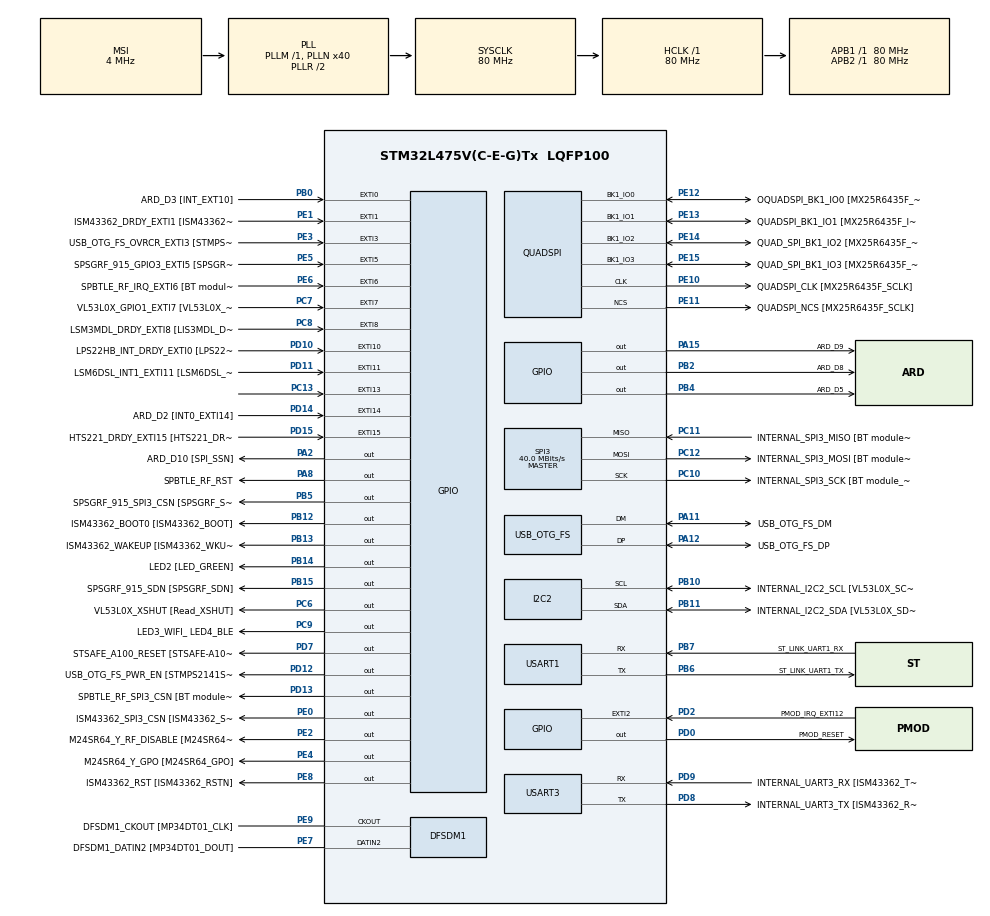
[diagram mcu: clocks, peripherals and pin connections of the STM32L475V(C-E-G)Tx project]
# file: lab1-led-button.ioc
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FREERTOS.BinarySemaphores01=timerSem,Dynamic,NULL,Available
FREERTOS.Mutexes01=ledMutex,Dynamic,NULL,Available
FREERTOS.Queues01=buttonQueue,4,uint8_t,0,Dynamic,NULL,NULL
FREERTOS.Tasks01=Task_1,24,128,StartTask1,Default,NULL,Dynamic,NULL,NULL;myTask02,24,128,StartTask2,Default,NULL,Dynamic,NULL,NULL
I2C2.Timing=0x10D19CE4
Mcu.Family=STM32L4
Mcu.Name=STM32L475V(C-E-G)Tx
Mcu.Package=LQFP100
NVIC.EXTI15_10_IRQn=true\:5\:0\:false\:false\:true\:true\:true\:true\:true
NVIC.EXTI9_5_IRQn=true\:5\:0\:false\:false\:true\:true\:true\:true\:true
NVIC.PriorityGroup=NVIC_PRIORITYGROUP_4
NVIC.TIM6_DAC_IRQn=true\:15\:0\:false\:false\:true\:false\:false\:true\:true
NVIC.TIM7_IRQn=true\:5\:0\:false\:false\:true\:true\:true\:true\:true
NVIC.TimeBase=TIM6_DAC_IRQn
NVIC.TimeBaseIP=TIM6
PA0.GPIO_Label=ARD_D1 [UART4_TX]
PA0.Signal=UART4_TX
PA1.GPIO_Label=ARD_D0 [UART4_RX]
PA1.Signal=UART4_RX
PA10.GPIO_Label=USB_OTG_FS_ID
PA10.Signal=USB_OTG_FS_ID
PA11.GPIO_Label=USB_OTG_FS_DM
PA11.Mode=Device_Only
PA11.Signal=USB_OTG_FS_DM
PA12.GPIO_Label=USB_OTG_FS_DP
PA12.Mode=Device_Only
PA12.Signal=USB_OTG_FS_DP
PA13\ (JTMS-SWDIO).GPIO_Label=SYS_JTMS_SWDIO
PA13\ (JTMS-SWDIO).Mode=Serial_Wire
PA13\ (JTMS-SWDIO).Signal=SYS_JTMS-SWDIO
PA14\ (JTCK-SWCLK).GPIO_Label=SYS_JTCK_SWCLK
PA14\ (JTCK-SWCLK).Mode=Serial_Wire
PA14\ (JTCK-SWCLK).Signal=SYS_JTCK-SWCLK
PA15\ (JTDI).GPIO_Label=ARD_D9
PA15\ (JTDI).Signal=GPIO_Output
PA2.GPIO_Label=ARD_D10 [SPI_SSN]
PA2.Signal=GPIO_Output
PA3.GPIO_Label=ARD_D4
PA3.Signal=S_TIM2_CH4
PA4.GPIO_Label=ARD_D7
PA4.Signal=ADCx_IN9
PA5.GPIO_Label=ARD_D13 [SPI1_SCK]
PA5.Signal=SPI1_SCK
PA6.GPIO_Label=ARD_D12 [SPI1_MISO]
PA6.Signal=SPI1_MISO
PA7.GPIO_Label=ARD_D11 [SPI1_MOSI]
PA7.Signal=SPI1_MOSI
PA8.GPIO_Label=SPBTLE_RF_RST
PA8.Signal=GPIO_Output
PA9.GPIO_Label=USB_OTG_FS_VBUS [STMPS2141STR_OUT]
PA9.Signal=USB_OTG_FS_VBUS
PB0.GPIO_Label=ARD_D3 [INT_EXT10]
PB0.Signal=GPXTI0
PB1.GPIO_Label=ARD_D6 [ADC1_IN6]
PB1.Signal=ADCx_IN16
PB10.GPIO_Label=INTERNAL_I2C2_SCL [VL53L0X_SCL]
PB10.GPIO_Pu=GPIO_PULLUP
PB10.Mode=I2C
PB10.Signal=I2C2_SCL
PB11.GPIO_Label=INTERNAL_I2C2_SDA [VL53L0X_SDA]
PB11.GPIO_Pu=GPIO_PULLUP
PB11.Mode=I2C
PB11.Signal=I2C2_SDA
PB12.GPIO_Label=ISM43362_BOOT0 [ISM43362_BOOT]
PB12.Signal=GPIO_Output
PB13.GPIO_Label=ISM43362_WAKEUP [ISM43362_WKUP]
PB13.Signal=GPIO_Output
PB14.GPIO_Label=LED2 [LED_GREEN]
PB14.Signal=GPIO_Output
PB15.GPIO_Label=SPSGRF_915_SDN [SPSGRF_SDN]
PB15.Signal=GPIO_Output
PB2.GPIO_Label=ARD_D8
PB2.Signal=GPIO_Output
PB3\ (JTDO-TRACESWO).GPIO_Label=SYS_JTD0_SWO
PB3\ (JTDO-TRACESWO).Signal=SYS_JTDO-SWO
PB4\ (NJTRST).GPIO_Label=ARD_D5
PB4\ (NJTRST).Signal=GPIO_Output
PB5.GPIO_Label=SPSGRF_915_SPI3_CSN [SPSGRF_SPI_CS]
PB5.PinState=GPIO_PIN_SET
PB5.Signal=GPIO_Output
PB6.GPIO_Label=ST_LINK_UART1_TX
PB6.Mode=Asynchronous
PB6.Signal=USART1_TX
PB7.GPIO_Label=ST_LINK_UART1_RX
PB7.Mode=Asynchronous
PB7.Signal=USART1_RX
PB8.GPIO_Label=ARD_D15 [I2C1_SCL]
PB8.Signal=I2C1_SCL
PB9.GPIO_Label=ARD_D14 [I2C1_SDA]
PB9.Signal=I2C1_SDA
PC0.GPIO_Label=ARD_A5 [ADC]
PC0.Signal=ADCx_IN1
PC1.GPIO_Label=ARD_A4 [ADC]
PC1.Signal=ADCx_IN2
PC10.GPIO_Label=INTERNAL_SPI3_SCK [BT module_SPI_SCLK] [ISM43362_SCK]
PC10.Mode=Full_Duplex_Master
PC10.Signal=SPI3_SCK
PC11.GPIO_Label=INTERNAL_SPI3_MISO [BT module_SPI_MISO] [ISM43362_MISO]
PC11.Mode=Full_Duplex_Master
PC11.Signal=SPI3_MISO
PC12.GPIO_Label=INTERNAL_SPI3_MOSI [BT module_SPI_MOSI] [ISM43362_MOSI]
PC12.Mode=Full_Duplex_Master
PC12.Signal=SPI3_MOSI
PC13.GPIO_ModeDefaultEXTI=GPIO_MODE_IT_RISING_FALLING
PC13.Signal=GPXTI13
PC14-OSC32_IN\ (PC14).Mode=LSE-External-Oscillator
PC14-OSC32_IN\ (PC14).Signal=RCC_OSC32_IN
PC15-OSC32_OUT\ (PC15).Mode=LSE-External-Oscillator
PC15-OSC32_OUT\ (PC15).Signal=RCC_OSC32_OUT
PC2.GPIO_Label=ARD_A3 [ADC]
PC2.Signal=ADCx_IN3
PC3.GPIO_Label=ARD_A2 [ADC]
PC3.Signal=ADCx_IN4
PC4.GPIO_Label=ARD_A1 [ADC]
PC4.Signal=ADCx_IN13
PC5.GPIO_Label=ARD_A0 [ADC]
PC5.Signal=ADCx_IN14
PC6.GPIO_Label=VL53L0X_XSHUT [Read_XSHUT]
PC6.Signal=GPIO_Output
PC7.GPIO_Label=VL53L0X_GPIO1_EXTI7 [VL53L0X_GPIO1]
PC7.Signal=GPXTI7
PC8.GPIO_Label=LSM3MDL_DRDY_EXTI8 [LIS3MDL_DRDY]
PC8.Signal=GPXTI8
PC9.GPIO_Label=LED3_WIFI_ LED4_BLE
PC9.Signal=GPIO_Output
PD0.GPIO_Label=PMOD_RESET
PD0.Signal=GPIO_Output
PD1.GPIO_Label=PMOD_SPI2_SCK
PD1.Signal=SPI2_SCK
PD10.GPIO_Label=LPS22HB_INT_DRDY_EXTI0 [LPS22HB_INT_DRDY] 
PD10.Signal=GPXTI10
PD11.GPIO_Label=LSM6DSL_INT1_EXTI11 [LSM6DSL_INT1]
PD11.Signal=GPXTI11
PD12.GPIO_Label=USB_OTG_FS_PWR_EN [STMPS2141STR_EN]
PD12.Signal=GPIO_Output
PD13.GPIO_Label=SPBTLE_RF_SPI3_CSN [BT module_SPI_CS]
PD13.PinState=GPIO_PIN_SET
PD13.Signal=GPIO_Output
PD14.GPIO_Label=ARD_D2 [INT0_EXTI14]
PD14.Signal=GPXTI14
PD15.GPIO_Label=HTS221_DRDY_EXTI15 [HTS221_DRDY]
PD15.Signal=GPXTI15
PD2.GPIO_Label=PMOD_IRQ_EXTI12
PD2.Signal=GPXTI2
PD3.GPIO_Label=PMOD_UART2_CTS
PD3.Signal=USART2_CTS
PD4.GPIO_Label=PMOD_UART2_RTS
PD4.Signal=USART2_RTS
PD5.GPIO_Label=PMOD_UART2_TX
PD5.Signal=USART2_TX
PD6.GPIO_Label=PMOD_UART2_RX
PD6.Signal=USART2_RX
PD7.GPIO_Label=STSAFE_A100_RESET [STSAFE-A100_RESET]
PD7.Signal=GPIO_Output
PD8.GPIO_Label=INTERNAL_UART3_TX [ISM43362_RX]
PD8.Mode=Asynchronous
PD8.Signal=USART3_TX
PD9.GPIO_Label=INTERNAL_UART3_RX [ISM43362_TX]
PD9.Mode=Asynchronous
PD9.Signal=USART3_RX
PE0.GPIO_Label=ISM43362_SPI3_CSN [ISM43362_SSN]
PE0.PinState=GPIO_PIN_SET
PE0.Signal=GPIO_Output
PE1.GPIO_Label=ISM43362_DRDY_EXTI1 [ISM43362_DATARDY]
PE1.Signal=GPXTI1
PE10.GPIO_Label=QUADSPI_CLK [MX25R6435F_SCLK]
PE10.Mode=Single Bank
PE10.Signal=QUADSPI_CLK
PE11.GPIO_Label=QUADSPI_NCS [MX25R6435F_SCLK]
PE11.Mode=Single Bank
PE11.Signal=QUADSPI_NCS
PE12.GPIO_Label=OQUADSPI_BK1_IO0 [MX25R6435F_IO0]
PE12.Mode=Single Bank
PE12.Signal=QUADSPI_BK1_IO0
PE13.GPIO_Label=QUADSPI_BK1_IO1 [MX25R6435F_IO1]
PE13.Mode=Single Bank
PE13.Signal=QUADSPI_BK1_IO1
PE14.GPIO_Label=QUAD_SPI_BK1_IO2 [MX25R6435F_IO2]
PE14.Mode=Single Bank
PE14.Signal=QUADSPI_BK1_IO2
PE15.GPIO_Label=QUAD_SPI_BK1_IO3 [MX25R6435F_IO3]
PE15.Mode=Single Bank
PE15.Signal=QUADSPI_BK1_IO3
PE2.GPIO_Label=M24SR64_Y_RF_DISABLE [M24SR64_RFDIS]
PE2.Signal=GPIO_Output
PE3.GPIO_Label=USB_OTG_FS_OVRCR_EXTI3 [STMPS2141STR_FAULT]
PE3.Signal=GPXTI3
PE4.GPIO_Label=M24SR64_Y_GPO [M24SR64_GPO]
PE4.Signal=GPIO_Output
PE5.GPIO_Label=SPSGRF_915_GPIO3_EXTI5 [SPSGRF_GPIO_3]
PE5.Signal=GPXTI5
PE6.GPIO_Label=SPBTLE_RF_IRQ_EXTI6 [BT module_SPI_IRQ]
PE6.Signal=GPXTI6
PE7.GPIO_Label=DFSDM1_DATIN2 [MP34DT01_DOUT]
PE7.Signal=S_DATAIN2DFSDM1
PE8.GPIO_Label=ISM43362_RST [ISM43362_RSTN]
PE8.Signal=GPIO_Output
PE9.GPIO_Label=DFSDM1_CKOUT [MP34DT01_CLK]
PE9.Signal=S_CKOUTDFSDM1
ProjectManager.HeapSize=0x200
ProjectManager.StackSize=0x400
ProjectManager.TargetToolchain=CMake
QUADSPI.ClockPrescaler=2
QUADSPI.FifoThreshold=4
QUADSPI.FlashSize=23
QUADSPI.SampleShifting=QSPI_SAMPLE_SHIFTING_HALFCYCLE
RCC.ADCFreq_Value=48000000
RCC.AHBFreq_Value=80000000
RCC.APB1Freq_Value=80000000
RCC.APB1TimFreq_Value=80000000
RCC.APB2Freq_Value=80000000
RCC.APB2TimFreq_Value=80000000
RCC.CortexFreq_Value=80000000
RCC.HCLKFreq_Value=80000000
RCC.HSE_VALUE=8000000
RCC.HSI_VALUE=16000000
RCC.MSI_VALUE=4000000
RCC.PLLN=40
RCC.PLLSAI1N=24
RCC.SYSCLKFreq_VALUE=80000000
RCC.SYSCLKSource=RCC_SYSCLKSOURCE_PLLCLK
RCC.USBFreq_Value=48000000
RCC.VCOOutputFreq_Value=160000000
SH.ADCx_IN1.0=ADC1_IN1
SH.ADCx_IN13.0=ADC1_IN13
SH.ADCx_IN14.0=ADC1_IN14
SH.ADCx_IN16.0=ADC1_IN16
SH.ADCx_IN2.0=ADC1_IN2
SH.ADCx_IN3.0=ADC1_IN3
SH.ADCx_IN4.0=ADC1_IN4
SH.ADCx_IN9.0=ADC1_IN9
SH.S_CKOUTDFSDM1.0=DFSDM1_CKOUT,CKOUT
SH.S_CKOUTDFSDM1.1=DFSDM1_CKOUT,PDM_SPI_Input_from_ch12_and_Internal_Clock
SH.S_DATAIN2DFSDM1.0=DFSDM1_DATIN2,PDM_SPI_Input_from_ch12_and_Internal_Clock
SH.S_TIM2_CH4.0=TIM2_CH4
SPI3.CalculateBaudRate=40.0 MBits/s
SPI3.Direction=SPI_DIRECTION_2LINES
SPI3.Mode=SPI_MODE_MASTER
SPI3.VirtualType=VM_MASTER
TIM7.Period=19999
TIM7.Prescaler=39999
USART1.VirtualMode-Asynchronous=VM_ASYNC
USART3.VirtualMode-Asynchronous=VM_ASYNC
USB_OTG_FS.VirtualMode=Device_Only
VP_FREERTOS_VS_CMSIS_V2.Mode=CMSIS_V2
VP_SYS_VS_tim6.Mode=TIM6
VP_TIM7_VS_ClockSourceINT.Mode=Enable_Timer
board=B-L475E-IOT01A1

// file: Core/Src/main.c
/* USER CODE BEGIN Header */
/**
  ******************************************************************************
  * @file           : main.c
  * @brief          : Main program body
  ******************************************************************************
  * @attention
  *
  * Copyright (c) 2026 STMicroelectronics.
  * All rights reserved.
  *
  * This software is licensed under terms that can be found in the LICENSE file
  * in the root directory of this software component.
  * If no LICENSE file comes with this software, it is provided AS-IS.
  *
  ******************************************************************************
  */
/* USER CODE END Header */
#include "main.h"
#include "cmsis_os.h"

/* USER CODE BEGIN PD */
#define MSG_SHORT 1
#define MSG_LONG  2
/* USER CODE END PD */

DFSDM_Channel_HandleTypeDef hdfsdm1_channel1;

I2C_HandleTypeDef hi2c2;

QSPI_HandleTypeDef hqspi;

SPI_HandleTypeDef hspi3;

TIM_HandleTypeDef htim7;

UART_HandleTypeDef huart1;
UART_HandleTypeDef huart3;

PCD_HandleTypeDef hpcd_USB_OTG_FS;

/* Definitions for Task_1 */
osThreadId_t Task_1Handle;
const osThreadAttr_t Task_1_attributes = {
  .name = "Task_1",
  .stack_size = 128 * 4,
  .priority = (osPriority_t) osPriorityNormal,
};
/* Definitions for myTask02 */
osThreadId_t myTask02Handle;
const osThreadAttr_t myTask02_attributes = {
  .name = "myTask02",
  .stack_size = 128 * 4,
  .priority = (osPriority_t) osPriorityNormal,
};
/* Definitions for buttonQueue */
osMessageQueueId_t buttonQueueHandle;
const osMessageQueueAttr_t buttonQueue_attributes = {
  .name = "buttonQueue"
};
/* Definitions for ledMutex */
osMutexId_t ledMutexHandle;
const osMutexAttr_t ledMutex_attributes = {
  .name = "ledMutex"
};
/* Definitions for timerSem */
osSemaphoreId_t timerSemHandle;
const osSemaphoreAttr_t timerSem_attributes = {
  .name = "timerSem"
};

void SystemClock_Config(void);
static void MX_GPIO_Init(void);
static void MX_DFSDM1_Init(void);
static void MX_I2C2_Init(void);
static void MX_QUADSPI_Init(void);
static void MX_SPI3_Init(void);
static void MX_USART1_UART_Init(void);
static void MX_USART3_UART_Init(void);
static void MX_USB_OTG_FS_PCD_Init(void);
static void MX_TIM7_Init(void);
void StartTask1(void *argument);
void StartTask2(void *argument);

int main(void)
{

  /* MCU Configuration--------------------------------------------------------*/

  /* Reset of all peripherals, Initializes the Flash interface and the Systick. */
  HAL_Init();

  /* Configure the system clock */
  SystemClock_Config();

  /* Initialize all configured peripherals */
  MX_GPIO_Init();
  MX_DFSDM1_Init();
  MX_I2C2_Init();
  MX_QUADSPI_Init();
  MX_SPI3_Init();
  MX_USART1_UART_Init();
  MX_USART3_UART_Init();
  MX_USB_OTG_FS_PCD_Init();
  MX_TIM7_Init();

  /* Init scheduler */
  osKernelInitialize();
  /* Create the mutex(es) */
  /* creation of ledMutex */
  ledMutexHandle = osMutexNew(&ledMutex_attributes);

  /* Create the semaphores(s) */
  /* creation of timerSem */
  timerSemHandle = osSemaphoreNew(1, 1, &timerSem_attributes);

  /* Create the queue(s) */
  /* creation of buttonQueue */
  buttonQueueHandle = osMessageQueueNew (4, sizeof(uint8_t), &buttonQueue_attributes);

  /* Create the thread(s) */
  /* creation of Task_1 */
  Task_1Handle = osThreadNew(StartTask1, NULL, &Task_1_attributes);

  /* creation of myTask02 */
  myTask02Handle = osThreadNew(StartTask2, NULL, &myTask02_attributes);

  /* Start scheduler */
  osKernelStart();

  /* We should never get here as control is now taken by the scheduler */

  /* Infinite loop */
  while (1)
  {

  }
}

void SystemClock_Config(void)
{
  RCC_OscInitTypeDef RCC_OscInitStruct = {0};
  RCC_ClkInitTypeDef RCC_ClkInitStruct = {0};

  /** Configure the main internal regulator output voltage
  */
  if (HAL_PWREx_ControlVoltageScaling(PWR_REGULATOR_VOLTAGE_SCALE1) != HAL_OK)
  {
    Error_Handler();
  }

  /** Configure LSE Drive Capability
  */
  HAL_PWR_EnableBkUpAccess();
  __HAL_RCC_LSEDRIVE_CONFIG(RCC_LSEDRIVE_LOW);

  /** Initializes the RCC Oscillators according to the specified parameters
  * in the RCC_OscInitTypeDef structure.
  */
  RCC_OscInitStruct.OscillatorType = RCC_OSCILLATORTYPE_LSE|RCC_OSCILLATORTYPE_MSI;
  RCC_OscInitStruct.LSEState = RCC_LSE_ON;
  RCC_OscInitStruct.MSIState = RCC_MSI_ON;
  RCC_OscInitStruct.MSICalibrationValue = 0;
  RCC_OscInitStruct.MSIClockRange = RCC_MSIRANGE_6;
  RCC_OscInitStruct.PLL.PLLState = RCC_PLL_ON;
  RCC_OscInitStruct.PLL.PLLSource = RCC_PLLSOURCE_MSI;
  RCC_OscInitStruct.PLL.PLLM = 1;
  RCC_OscInitStruct.PLL.PLLN = 40;
  RCC_OscInitStruct.PLL.PLLP = RCC_PLLP_DIV7;
  RCC_OscInitStruct.PLL.PLLQ = RCC_PLLQ_DIV2;
  RCC_OscInitStruct.PLL.PLLR = RCC_PLLR_DIV2;
  if (HAL_RCC_OscConfig(&RCC_OscInitStruct) != HAL_OK)
  {
    Error_Handler();
  }

  /** Initializes the CPU, AHB and APB buses clocks
  */
  RCC_ClkInitStruct.ClockType = RCC_CLOCKTYPE_HCLK|RCC_CLOCKTYPE_SYSCLK
                              |RCC_CLOCKTYPE_PCLK1|RCC_CLOCKTYPE_PCLK2;
  RCC_ClkInitStruct.SYSCLKSource = RCC_SYSCLKSOURCE_PLLCLK;
  RCC_ClkInitStruct.AHBCLKDivider = RCC_SYSCLK_DIV1;
  RCC_ClkInitStruct.APB1CLKDivider = RCC_HCLK_DIV1;
  RCC_ClkInitStruct.APB2CLKDivider = RCC_HCLK_DIV1;

  if (HAL_RCC_ClockConfig(&RCC_ClkInitStruct, FLASH_LATENCY_4) != HAL_OK)
  {
    Error_Handler();
  }

  /** Enable MSI Auto calibration
  */
  HAL_RCCEx_EnableMSIPLLMode();
}

static void MX_DFSDM1_Init(void)
{

  hdfsdm1_channel1.Instance = DFSDM1_Channel1;
  hdfsdm1_channel1.Init.OutputClock.Activation = ENABLE;
  hdfsdm1_channel1.Init.OutputClock.Selection = DFSDM_CHANNEL_OUTPUT_CLOCK_SYSTEM;
  hdfsdm1_channel1.Init.OutputClock.Divider = 2;
  hdfsdm1_channel1.Init.Input.Multiplexer = DFSDM_CHANNEL_EXTERNAL_INPUTS;
  hdfsdm1_channel1.Init.Input.DataPacking = DFSDM_CHANNEL_STANDARD_MODE;
  hdfsdm1_channel1.Init.Input.Pins = DFSDM_CHANNEL_FOLLOWING_CHANNEL_PINS;
  hdfsdm1_channel1.Init.SerialInterface.Type = DFSDM_CHANNEL_SPI_RISING;
  hdfsdm1_channel1.Init.SerialInterface.SpiClock = DFSDM_CHANNEL_SPI_CLOCK_INTERNAL;
  hdfsdm1_channel1.Init.Awd.FilterOrder = DFSDM_CHANNEL_FASTSINC_ORDER;
  hdfsdm1_channel1.Init.Awd.Oversampling = 1;
  hdfsdm1_channel1.Init.Offset = 0;
  hdfsdm1_channel1.Init.RightBitShift = 0x00;
  if (HAL_DFSDM_ChannelInit(&hdfsdm1_channel1) != HAL_OK)
  {
    Error_Handler();
  }

}

static void MX_I2C2_Init(void)
{

  hi2c2.Instance = I2C2;
  hi2c2.Init.Timing = 0x10D19CE4;
  hi2c2.Init.OwnAddress1 = 0;
  hi2c2.Init.AddressingMode = I2C_ADDRESSINGMODE_7BIT;
  hi2c2.Init.DualAddressMode = I2C_DUALADDRESS_DISABLE;
  hi2c2.Init.OwnAddress2 = 0;
  hi2c2.Init.OwnAddress2Masks = I2C_OA2_NOMASK;
  hi2c2.Init.GeneralCallMode = I2C_GENERALCALL_DISABLE;
  hi2c2.Init.NoStretchMode = I2C_NOSTRETCH_DISABLE;
  if (HAL_I2C_Init(&hi2c2) != HAL_OK)
  {
    Error_Handler();
  }

  /** Configure Analogue filter
  */
  if (HAL_I2CEx_ConfigAnalogFilter(&hi2c2, I2C_ANALOGFILTER_ENABLE) != HAL_OK)
  {
    Error_Handler();
  }

  /** Configure Digital filter
  */
  if (HAL_I2CEx_ConfigDigitalFilter(&hi2c2, 0) != HAL_OK)
  {
    Error_Handler();
  }

}

static void MX_QUADSPI_Init(void)
{

  /* QUADSPI parameter configuration*/
  hqspi.Instance = QUADSPI;
  hqspi.Init.ClockPrescaler = 2;
  hqspi.Init.FifoThreshold = 4;
  hqspi.Init.SampleShifting = QSPI_SAMPLE_SHIFTING_HALFCYCLE;
  hqspi.Init.FlashSize = 23;
  hqspi.Init.ChipSelectHighTime = QSPI_CS_HIGH_TIME_1_CYCLE;
  hqspi.Init.ClockMode = QSPI_CLOCK_MODE_0;
  if (HAL_QSPI_Init(&hqspi) != HAL_OK)
  {
    Error_Handler();
  }

}

static void MX_SPI3_Init(void)
{

  /* SPI3 parameter configuration*/
  hspi3.Instance = SPI3;
  hspi3.Init.Mode = SPI_MODE_MASTER;
  hspi3.Init.Direction = SPI_DIRECTION_2LINES;
  hspi3.Init.DataSize = SPI_DATASIZE_4BIT;
  hspi3.Init.CLKPolarity = SPI_POLARITY_LOW;
  hspi3.Init.CLKPhase = SPI_PHASE_1EDGE;
  hspi3.Init.NSS = SPI_NSS_SOFT;
  hspi3.Init.BaudRatePrescaler = SPI_BAUDRATEPRESCALER_2;
  hspi3.Init.FirstBit = SPI_FIRSTBIT_MSB;
  hspi3.Init.TIMode = SPI_TIMODE_DISABLE;
  hspi3.Init.CRCCalculation = SPI_CRCCALCULATION_DISABLE;
  hspi3.Init.CRCPolynomial = 7;
  hspi3.Init.CRCLength = SPI_CRC_LENGTH_DATASIZE;
  hspi3.Init.NSSPMode = SPI_NSS_PULSE_ENABLE;
  if (HAL_SPI_Init(&hspi3) != HAL_OK)
  {
    Error_Handler();
  }

}

static void MX_TIM7_Init(void)
{

  TIM_MasterConfigTypeDef sMasterConfig = {0};

  htim7.Instance = TIM7;
  htim7.Init.Prescaler = 39999;
  htim7.Init.CounterMode = TIM_COUNTERMODE_UP;
  htim7.Init.Period = 19999;
  htim7.Init.AutoReloadPreload = TIM_AUTORELOAD_PRELOAD_DISABLE;
  if (HAL_TIM_Base_Init(&htim7) != HAL_OK)
  {
    Error_Handler();
  }
  sMasterConfig.MasterOutputTrigger = TIM_TRGO_RESET;
  sMasterConfig.MasterSlaveMode = TIM_MASTERSLAVEMODE_DISABLE;
  if (HAL_TIMEx_MasterConfigSynchronization(&htim7, &sMasterConfig) != HAL_OK)
  {
    Error_Handler();
  }

}

static void MX_USART1_UART_Init(void)
{

  huart1.Instance = USART1;
  huart1.Init.BaudRate = 115200;
  huart1.Init.WordLength = UART_WORDLENGTH_8B;
  huart1.Init.StopBits = UART_STOPBITS_1;
  huart1.Init.Parity = UART_PARITY_NONE;
  huart1.Init.Mode = UART_MODE_TX_RX;
  huart1.Init.HwFlowCtl = UART_HWCONTROL_NONE;
  huart1.Init.OverSampling = UART_OVERSAMPLING_16;
  huart1.Init.OneBitSampling = UART_ONE_BIT_SAMPLE_DISABLE;
  huart1.AdvancedInit.AdvFeatureInit = UART_ADVFEATURE_NO_INIT;
  if (HAL_UART_Init(&huart1) != HAL_OK)
  {
    Error_Handler();
  }

}

static void MX_USART3_UART_Init(void)
{

  huart3.Instance = USART3;
  huart3.Init.BaudRate = 115200;
  huart3.Init.WordLength = UART_WORDLENGTH_8B;
  huart3.Init.StopBits = UART_STOPBITS_1;
  huart3.Init.Parity = UART_PARITY_NONE;
  huart3.Init.Mode = UART_MODE_TX_RX;
  huart3.Init.HwFlowCtl = UART_HWCONTROL_NONE;
  huart3.Init.OverSampling = UART_OVERSAMPLING_16;
  huart3.Init.OneBitSampling = UART_ONE_BIT_SAMPLE_DISABLE;
  huart3.AdvancedInit.AdvFeatureInit = UART_ADVFEATURE_NO_INIT;
  if (HAL_UART_Init(&huart3) != HAL_OK)
  {
    Error_Handler();
  }

}

static void MX_USB_OTG_FS_PCD_Init(void)
{

  hpcd_USB_OTG_FS.Instance = USB_OTG_FS;
  hpcd_USB_OTG_FS.Init.dev_endpoints = 6;
  hpcd_USB_OTG_FS.Init.speed = PCD_SPEED_FULL;
  hpcd_USB_OTG_FS.Init.phy_itface = PCD_PHY_EMBEDDED;
  hpcd_USB_OTG_FS.Init.Sof_enable = DISABLE;
  hpcd_USB_OTG_FS.Init.low_power_enable = DISABLE;
  hpcd_USB_OTG_FS.Init.lpm_enable = DISABLE;
  hpcd_USB_OTG_FS.Init.battery_charging_enable = DISABLE;
  hpcd_USB_OTG_FS.Init.use_dedicated_ep1 = DISABLE;
  hpcd_USB_OTG_FS.Init.vbus_sensing_enable = DISABLE;
  if (HAL_PCD_Init(&hpcd_USB_OTG_FS) != HAL_OK)
  {
    Error_Handler();
  }

}

static void MX_GPIO_Init(void)
{
  GPIO_InitTypeDef GPIO_InitStruct = {0};

  /* GPIO Ports Clock Enable */
  __HAL_RCC_GPIOE_CLK_ENABLE();
  __HAL_RCC_GPIOC_CLK_ENABLE();
  __HAL_RCC_GPIOA_CLK_ENABLE();
  __HAL_RCC_GPIOB_CLK_ENABLE();
  __HAL_RCC_GPIOD_CLK_ENABLE();

  /*Configure GPIO pin Output Level */
  HAL_GPIO_WritePin(GPIOE, M24SR64_Y_RF_DISABLE_Pin|M24SR64_Y_GPO_Pin|ISM43362_RST_Pin, GPIO_PIN_RESET);

  /*Configure GPIO pin Output Level */
  HAL_GPIO_WritePin(GPIOA, ARD_D10_Pin|SPBTLE_RF_RST_Pin|ARD_D9_Pin, GPIO_PIN_RESET);

  /*Configure GPIO pin Output Level */
  HAL_GPIO_WritePin(GPIOB, ARD_D8_Pin|ISM43362_BOOT0_Pin|ISM43362_WAKEUP_Pin|LED2_Pin
                          |SPSGRF_915_SDN_Pin|ARD_D5_Pin, GPIO_PIN_RESET);

  /*Configure GPIO pin Output Level */
  HAL_GPIO_WritePin(GPIOD, USB_OTG_FS_PWR_EN_Pin|PMOD_RESET_Pin|STSAFE_A100_RESET_Pin, GPIO_PIN_RESET);

  /*Configure GPIO pin Output Level */
  HAL_GPIO_WritePin(SPBTLE_RF_SPI3_CSN_GPIO_Port, SPBTLE_RF_SPI3_CSN_Pin, GPIO_PIN_SET);

  /*Configure GPIO pin Output Level */
  HAL_GPIO_WritePin(GPIOC, VL53L0X_XSHUT_Pin|LED3_WIFI__LED4_BLE_Pin, GPIO_PIN_RESET);

  /*Configure GPIO pin Output Level */
  HAL_GPIO_WritePin(SPSGRF_915_SPI3_CSN_GPIO_Port, SPSGRF_915_SPI3_CSN_Pin, GPIO_PIN_SET);

  /*Configure GPIO pin Output Level */
  HAL_GPIO_WritePin(ISM43362_SPI3_CSN_GPIO_Port, ISM43362_SPI3_CSN_Pin, GPIO_PIN_SET);

  /*Configure GPIO pins : M24SR64_Y_RF_DISABLE_Pin M24SR64_Y_GPO_Pin ISM43362_RST_Pin ISM43362_SPI3_CSN_Pin */
  GPIO_InitStruct.Pin = M24SR64_Y_RF_DISABLE_Pin|M24SR64_Y_GPO_Pin|ISM43362_RST_Pin|ISM43362_SPI3_CSN_Pin;
  GPIO_InitStruct.Mode = GPIO_MODE_OUTPUT_PP;
  GPIO_InitStruct.Pull = GPIO_NOPULL;
  GPIO_InitStruct.Speed = GPIO_SPEED_FREQ_LOW;
  HAL_GPIO_Init(GPIOE, &GPIO_InitStruct);

  /*Configure GPIO pins : USB_OTG_FS_OVRCR_EXTI3_Pin SPSGRF_915_GPIO3_EXTI5_Pin SPBTLE_RF_IRQ_EXTI6_Pin ISM43362_DRDY_EXTI1_Pin */
  GPIO_InitStruct.Pin = USB_OTG_FS_OVRCR_EXTI3_Pin|SPSGRF_915_GPIO3_EXTI5_Pin|SPBTLE_RF_IRQ_EXTI6_Pin|ISM43362_DRDY_EXTI1_Pin;
  GPIO_InitStruct.Mode = GPIO_MODE_IT_RISING;
  GPIO_InitStruct.Pull = GPIO_NOPULL;
  HAL_GPIO_Init(GPIOE, &GPIO_InitStruct);

  /*Configure GPIO pin : PC13 */
  GPIO_InitStruct.Pin = GPIO_PIN_13;
  GPIO_InitStruct.Mode = GPIO_MODE_IT_RISING_FALLING;
  GPIO_InitStruct.Pull = GPIO_NOPULL;
  HAL_GPIO_Init(GPIOC, &GPIO_InitStruct);

  /*Configure GPIO pins : ARD_A5_Pin ARD_A4_Pin ARD_A3_Pin ARD_A2_Pin
                           ARD_A1_Pin ARD_A0_Pin */
  GPIO_InitStruct.Pin = ARD_A5_Pin|ARD_A4_Pin|ARD_A3_Pin|ARD_A2_Pin
                          |ARD_A1_Pin|ARD_A0_Pin;
  GPIO_InitStruct.Mode = GPIO_MODE_ANALOG_ADC_CONTROL;
  GPIO_InitStruct.Pull = GPIO_NOPULL;
  HAL_GPIO_Init(GPIOC, &GPIO_InitStruct);

  /*Configure GPIO pins : ARD_D1_Pin ARD_D0_Pin */
  GPIO_InitStruct.Pin = ARD_D1_Pin|ARD_D0_Pin;
  GPIO_InitStruct.Mode = GPIO_MODE_AF_PP;
  GPIO_InitStruct.Pull = GPIO_NOPULL;
  GPIO_InitStruct.Speed = GPIO_SPEED_FREQ_VERY_HIGH;
  GPIO_InitStruct.Alternate = GPIO_AF8_UART4;
  HAL_GPIO_Init(GPIOA, &GPIO_InitStruct);

  /*Configure GPIO pins : ARD_D10_Pin SPBTLE_RF_RST_Pin ARD_D9_Pin */
  GPIO_InitStruct.Pin = ARD_D10_Pin|SPBTLE_RF_RST_Pin|ARD_D9_Pin;
  GPIO_InitStruct.Mode = GPIO_MODE_OUTPUT_PP;
  GPIO_InitStruct.Pull = GPIO_NOPULL;
  GPIO_InitStruct.Speed = GPIO_SPEED_FREQ_LOW;
  HAL_GPIO_Init(GPIOA, &GPIO_InitStruct);

  /*Configure GPIO pin : ARD_D4_Pin */
  GPIO_InitStruct.Pin = ARD_D4_Pin;
  GPIO_InitStruct.Mode = GPIO_MODE_AF_PP;
  GPIO_InitStruct.Pull = GPIO_NOPULL;
  GPIO_InitStruct.Speed = GPIO_SPEED_FREQ_LOW;
  GPIO_InitStruct.Alternate = GPIO_AF1_TIM2;
  HAL_GPIO_Init(ARD_D4_GPIO_Port, &GPIO_InitStruct);

  /*Configure GPIO pin : ARD_D7_Pin */
  GPIO_InitStruct.Pin = ARD_D7_Pin;
  GPIO_InitStruct.Mode = GPIO_MODE_ANALOG_ADC_CONTROL;
  GPIO_InitStruct.Pull = GPIO_NOPULL;
  HAL_GPIO_Init(ARD_D7_GPIO_Port, &GPIO_InitStruct);

  /*Configure GPIO pins : ARD_D13_Pin ARD_D12_Pin ARD_D11_Pin */
  GPIO_InitStruct.Pin = ARD_D13_Pin|ARD_D12_Pin|ARD_D11_Pin;
  GPIO_InitStruct.Mode = GPIO_MODE_AF_PP;
  GPIO_InitStruct.Pull = GPIO_NOPULL;
  GPIO_InitStruct.Speed = GPIO_SPEED_FREQ_VERY_HIGH;
  GPIO_InitStruct.Alternate = GPIO_AF5_SPI1;
  HAL_GPIO_Init(GPIOA, &GPIO_InitStruct);

  /*Configure GPIO pin : ARD_D3_Pin */
  GPIO_InitStruct.Pin = ARD_D3_Pin;
  GPIO_InitStruct.Mode = GPIO_MODE_IT_RISING;
  GPIO_InitStruct.Pull = GPIO_NOPULL;
  HAL_GPIO_Init(ARD_D3_GPIO_Port, &GPIO_InitStruct);

  /*Configure GPIO pin : ARD_D6_Pin */
  GPIO_InitStruct.Pin = ARD_D6_Pin;
  GPIO_InitStruct.Mode = GPIO_MODE_ANALOG_ADC_CONTROL;
  GPIO_InitStruct.Pull = GPIO_NOPULL;
  HAL_GPIO_Init(ARD_D6_GPIO_Port, &GPIO_InitStruct);

  /*Configure GPIO pins : ARD_D8_Pin ISM43362_BOOT0_Pin ISM43362_WAKEUP_Pin LED2_Pin
                           SPSGRF_915_SDN_Pin ARD_D5_Pin SPSGRF_915_SPI3_CSN_Pin */
  GPIO_InitStruct.Pin = ARD_D8_Pin|ISM43362_BOOT0_Pin|ISM43362_WAKEUP_Pin|LED2_Pin
                          |SPSGRF_915_SDN_Pin|ARD_D5_Pin|SPSGRF_915_SPI3_CSN_Pin;
  GPIO_InitStruct.Mode = GPIO_MODE_OUTPUT_PP;
  GPIO_InitStruct.Pull = GPIO_NOPULL;
  GPIO_InitStruct.Speed = GPIO_SPEED_FREQ_LOW;
  HAL_GPIO_Init(GPIOB, &GPIO_InitStruct);

  /*Configure GPIO pins : LPS22HB_INT_DRDY_EXTI0_Pin LSM6DSL_INT1_EXTI11_Pin ARD_D2_Pin HTS221_DRDY_EXTI15_Pin
                           PMOD_IRQ_EXTI12_Pin */
  GPIO_InitStruct.Pin = LPS22HB_INT_DRDY_EXTI0_Pin|LSM6DSL_INT1_EXTI11_Pin|ARD_D2_Pin|HTS221_DRDY_EXTI15_Pin
                          |PMOD_IRQ_EXTI12_Pin;
  GPIO_InitStruct.Mode = GPIO_MODE_IT_RISING;
  GPIO_InitStruct.Pull = GPIO_NOPULL;
  HAL_GPIO_Init(GPIOD, &GPIO_InitStruct);

  /*Configure GPIO pins : USB_OTG_FS_PWR_EN_Pin SPBTLE_RF_SPI3_CSN_Pin PMOD_RESET_Pin STSAFE_A100_RESET_Pin */
  GPIO_InitStruct.Pin = USB_OTG_FS_PWR_EN_Pin|SPBTLE_RF_SPI3_CSN_Pin|PMOD_RESET_Pin|STSAFE_A100_RESET_Pin;
  GPIO_InitStruct.Mode = GPIO_MODE_OUTPUT_PP;
  GPIO_InitStruct.Pull = GPIO_NOPULL;
  GPIO_InitStruct.Speed = GPIO_SPEED_FREQ_LOW;
  HAL_GPIO_Init(GPIOD, &GPIO_InitStruct);

  /*Configure GPIO pins : VL53L0X_XSHUT_Pin LED3_WIFI__LED4_BLE_Pin */
  GPIO_InitStruct.Pin = VL53L0X_XSHUT_Pin|LED3_WIFI__LED4_BLE_Pin;
  GPIO_InitStruct.Mode = GPIO_MODE_OUTPUT_PP;
  GPIO_InitStruct.Pull = GPIO_NOPULL;
  GPIO_InitStruct.Speed = GPIO_SPEED_FREQ_LOW;
  HAL_GPIO_Init(GPIOC, &GPIO_InitStruct);

  /*Configure GPIO pins : VL53L0X_GPIO1_EXTI7_Pin LSM3MDL_DRDY_EXTI8_Pin */
  GPIO_InitStruct.Pin = VL53L0X_GPIO1_EXTI7_Pin|LSM3MDL_DRDY_EXTI8_Pin;
  GPIO_InitStruct.Mode = GPIO_MODE_IT_RISING;
  GPIO_InitStruct.Pull = GPIO_NOPULL;
  HAL_GPIO_Init(GPIOC, &GPIO_InitStruct);

  /*Configure GPIO pin : PMOD_SPI2_SCK_Pin */
  GPIO_InitStruct.Pin = PMOD_SPI2_SCK_Pin;
  GPIO_InitStruct.Mode = GPIO_MODE_AF_PP;
  GPIO_InitStruct.Pull = GPIO_NOPULL;
  GPIO_InitStruct.Speed = GPIO_SPEED_FREQ_VERY_HIGH;
  GPIO_InitStruct.Alternate = GPIO_AF5_SPI2;
  HAL_GPIO_Init(PMOD_SPI2_SCK_GPIO_Port, &GPIO_InitStruct);

  /*Configure GPIO pins : PMOD_UART2_CTS_Pin PMOD_UART2_RTS_Pin PMOD_UART2_TX_Pin PMOD_UART2_RX_Pin */
  GPIO_InitStruct.Pin = PMOD_UART2_CTS_Pin|PMOD_UART2_RTS_Pin|PMOD_UART2_TX_Pin|PMOD_UART2_RX_Pin;
  GPIO_InitStruct.Mode = GPIO_MODE_AF_PP;
  GPIO_InitStruct.Pull = GPIO_NOPULL;
  GPIO_InitStruct.Speed = GPIO_SPEED_FREQ_VERY_HIGH;
  GPIO_InitStruct.Alternate = GPIO_AF7_USART2;
  HAL_GPIO_Init(GPIOD, &GPIO_InitStruct);

  /*Configure GPIO pins : ARD_D15_Pin ARD_D14_Pin */
  GPIO_InitStruct.Pin = ARD_D15_Pin|ARD_D14_Pin;
  GPIO_InitStruct.Mode = GPIO_MODE_AF_OD;
  GPIO_InitStruct.Pull = GPIO_NOPULL;
  GPIO_InitStruct.Speed = GPIO_SPEED_FREQ_VERY_HIGH;
  GPIO_InitStruct.Alternate = GPIO_AF4_I2C1;
  HAL_GPIO_Init(GPIOB, &GPIO_InitStruct);

  /* EXTI interrupt init*/
  HAL_NVIC_SetPriority(EXTI9_5_IRQn, 5, 0);
  HAL_NVIC_EnableIRQ(EXTI9_5_IRQn);

  HAL_NVIC_SetPriority(EXTI15_10_IRQn, 5, 0);
  HAL_NVIC_EnableIRQ(EXTI15_10_IRQn);

}

/* USER CODE BEGIN 4 */
void HAL_GPIO_EXTI_Callback(uint16_t GPIO_Pin)
{
  static uint32_t press_tick = 0;   // 按下的時間
  static uint32_t last_tick = 0;    // 上次有效觸發的時間（去彈跳用）
  static uint8_t  pressed = 0;      // 是否已記錄到按下

  if (GPIO_Pin != GPIO_PIN_13) return;          // 不是按鈕就離開

  uint32_t now = HAL_GetTick();
  if (now - last_tick < 50) return;             // 50 ms 內的視為彈跳
  last_tick = now;

  if (HAL_GPIO_ReadPin(GPIOC, GPIO_PIN_13) == GPIO_PIN_RESET)  // 低電位 = 按下
  {
    press_tick = now;                           // 記下按下時間
    pressed = 1;
  }
  else if (pressed)                             // 高電位 = 放開（且之前有按下）
  {
    pressed = 0;
    uint8_t msg = (now - press_tick >= 1000) ? MSG_LONG : MSG_SHORT;
    osMessageQueuePut(buttonQueueHandle, &msg, 0, 0);  // 丟進 queue；中斷裡 timeout 必須是 0
  }
}
/* USER CODE END 4 */

void StartTask1(void *argument)
{
  /* USER CODE BEGIN 5 */
  uint8_t msg;
  for(;;)
  {
    osMessageQueueGet(buttonQueueHandle, &msg, NULL, osWaitForever);  // 等訊息

    uint32_t half, times;
    if (msg == MSG_LONG) { half = 50;  times = 50; }  // 長按：10 Hz x 5 秒
    else                 { half = 500; times = 5;  }  // 短按：1 Hz x 5 秒

    osMutexAcquire(ledMutexHandle, osWaitForever);
    for (uint32_t i = 0; i < times; i++)
    {
      HAL_GPIO_WritePin(GPIOB, LED2_Pin, GPIO_PIN_SET);
      osDelay(half);
      HAL_GPIO_WritePin(GPIOB, LED2_Pin, GPIO_PIN_RESET);
      osDelay(half);
    }
    osMutexRelease(ledMutexHandle);
  }
  /* USER CODE END 5 */
}

void StartTask2(void *argument)
{
  /* USER CODE BEGIN StartTask2 */
  /* Infinite loop */
  osSemaphoreAcquire(timerSemHandle, 0);                // 清掉初始值
  __HAL_TIM_CLEAR_FLAG(&htim7, TIM_FLAG_UPDATE);        // 清掉殘留旗標
  HAL_TIM_Base_Start_IT(&htim7);                        // 啟動 10 秒計時
  for(;;)
  {
    osSemaphoreAcquire(timerSemHandle, osWaitForever);  // 等 10 秒到
    osMutexAcquire(ledMutexHandle, osWaitForever);      // 拿鑰匙
    for (int i = 0; i < 20; i++)                        // 10 Hz x 2 秒
    {
      HAL_GPIO_WritePin(GPIOB, LED2_Pin, GPIO_PIN_SET);
      osDelay(50);
      HAL_GPIO_WritePin(GPIOB, LED2_Pin, GPIO_PIN_RESET);
      osDelay(50);
    }
    osMutexRelease(ledMutexHandle);                     // 還鑰匙
  }
  /* USER CODE END StartTask2 */
}

void HAL_TIM_PeriodElapsedCallback(TIM_HandleTypeDef *htim)
{
  if (htim->Instance == TIM6)
  {
    HAL_IncTick();
  }
  /* USER CODE BEGIN Callback 1 */
  if (htim->Instance == TIM7)
  {
    osSemaphoreRelease(timerSemHandle); // release sem. with id timerSemHandle, paired with the task acquiring that sem. id.
  }
  /* USER CODE END Callback 1 */
}

void Error_Handler(void)
{
  __disable_irq();
  while (1)
  {
  }
}
